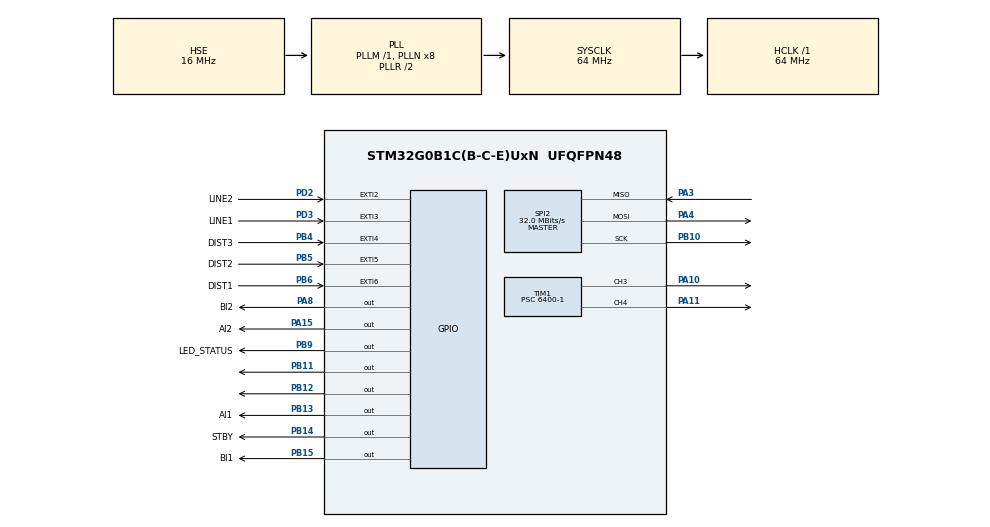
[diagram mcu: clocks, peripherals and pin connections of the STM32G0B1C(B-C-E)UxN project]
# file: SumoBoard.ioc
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Mcu.Family=STM32G0
Mcu.Name=STM32G0B1C(B-C-E)UxN
Mcu.Package=UFQFPN48
NVIC.EXTI2_3_IRQn=true\:1\:0\:true\:false\:true\:true\:true\:true
NVIC.EXTI4_15_IRQn=true\:1\:0\:true\:false\:true\:true\:true\:true
PA10.Signal=S_TIM1_CH3
PA11\ [PA9].Signal=S_TIM1_CH4
PA13.Mode=Serial_Wire
PA13.Signal=SYS_SWDIO
PA14-BOOT0.Mode=Serial_Wire
PA14-BOOT0.Signal=SYS_SWCLK
PA15.GPIO_Label=AI2
PA15.Signal=GPIO_Output
PA3.Mode=Full_Duplex_Master
PA3.Signal=SPI2_MISO
PA4.Mode=Full_Duplex_Master
PA4.Signal=SPI2_MOSI
PA8.GPIO_Label=BI2
PA8.Signal=GPIO_Output
PB10.Mode=Full_Duplex_Master
PB10.Signal=SPI2_SCK
PB11.Signal=GPIO_Output
PB12.Signal=GPIO_Output
PB13.GPIO_Label=AI1
PB13.Signal=GPIO_Output
PB14.GPIO_Label=STBY
PB14.Signal=GPIO_Output
PB15.GPIO_Label=BI1
PB15.Signal=GPIO_Output
PB4.GPIO_Label=DIST3
PB4.GPIO_ModeDefaultEXTI=GPIO_MODE_IT_RISING
PB4.Signal=GPXTI4
PB5.GPIO_Label=DIST2
PB5.GPIO_ModeDefaultEXTI=GPIO_MODE_IT_RISING
PB5.Signal=GPXTI5
PB6.GPIO_Label=DIST1
PB6.GPIO_ModeDefaultEXTI=GPIO_MODE_IT_RISING
PB6.Signal=GPXTI6
PB9.GPIO_Label=LED_STATUS
PB9.Signal=GPIO_Output
PD2.GPIO_Label=LINE2
PD2.GPIO_ModeDefaultEXTI=GPIO_MODE_IT_FALLING
PD2.Signal=GPXTI2
PD3.GPIO_Label=LINE1
PD3.GPIO_ModeDefaultEXTI=GPIO_MODE_IT_FALLING
PD3.Signal=GPXTI3
PF0-OSC_IN\ (PF0).Mode=HSE-External-Oscillator
PF0-OSC_IN\ (PF0).Signal=RCC_OSC_IN
PF1-OSC_OUT\ (PF1).Mode=HSE-External-Oscillator
PF1-OSC_OUT\ (PF1).Signal=RCC_OSC_OUT
ProjectManager.HeapSize=0x200
ProjectManager.StackSize=0x400
ProjectManager.TargetToolchain=STM32CubeIDE
RCC.ADCFreq_Value=64000000
RCC.AHBFreq_Value=64000000
RCC.CortexFreq_Value=64000000
RCC.EXTERNAL_CLOCK_VALUE=48000
RCC.HCLKFreq_Value=64000000
RCC.HSE_VALUE=16000000
RCC.HSI48_VALUE=48000000
RCC.HSI_VALUE=16000000
RCC.LSE_VALUE=32768
RCC.PLLSourceVirtual=RCC_PLLSOURCE_HSE
RCC.SYSCLKFreq_VALUE=64000000
RCC.SYSCLKSource=RCC_SYSCLKSOURCE_PLLCLK
RCC.USBFreq_Value=48000000
RCC.VCOOutputFreq_Value=128000000
SH.S_TIM1_CH3.0=TIM1_CH3,PWM Generation3 CH3
SH.S_TIM1_CH4.0=TIM1_CH4,PWM Generation4 CH4
SPI2.CalculateBaudRate=32.0 MBits/s
SPI2.Direction=SPI_DIRECTION_2LINES
SPI2.Mode=SPI_MODE_MASTER
SPI2.VirtualType=VM_MASTER
TIM1.Channel-PWM\ Generation3\ CH3=TIM_CHANNEL_3
TIM1.Channel-PWM\ Generation4\ CH4=TIM_CHANNEL_4
TIM1.Period=100-1
TIM1.Prescaler=6400-1
TIM2.Channel-Output\ Compare3\ CH3=TIM_CHANNEL_3
VP_SYS_VS_DBSignals.Mode=DisableDeadBatterySignals
VP_TIM2_VS_ClockSourceINT.Mode=Internal
board=custom

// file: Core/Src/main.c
/* USER CODE BEGIN Header */
/**
  ******************************************************************************
  * @file           : main.c
  * @brief          : Main program body
  ******************************************************************************
  * @attention
  *
  * Copyright (c) 2022 STMicroelectronics.
  * All rights reserved.
  *
  * This software is licensed under terms that can be found in the LICENSE file
  * in the root directory of this software component.
  * If no LICENSE file comes with this software, it is provided AS-IS.
  *
  ******************************************************************************
  */
/* USER CODE END Header */
#include "main.h"

/* USER CODE BEGIN Includes */
void bot_right(void);
void bot_straight(void);
void bot_left(void);
/* USER CODE END Includes */

 SPI_HandleTypeDef hspi2;

TIM_HandleTypeDef htim1;
TIM_HandleTypeDef htim2;

void SystemClock_Config(void);
static void MX_GPIO_Init(void);
static void MX_TIM2_Init(void);
static void MX_SPI2_Init(void);
static void MX_TIM1_Init(void);

int main(void)
{

  /* MCU Configuration--------------------------------------------------------*/

  /* Reset of all peripherals, Initializes the Flash interface and the Systick. */
  HAL_Init();

  /* Configure the system clock */
  SystemClock_Config();

  /* Initialize all configured peripherals */
  MX_GPIO_Init();
  MX_TIM2_Init();
  MX_SPI2_Init();
  MX_TIM1_Init();
  /* USER CODE BEGIN 2 */

  HAL_GPIO_WritePin(STBY_GPIO_Port, STBY_Pin, GPIO_PIN_SET);

  HAL_GPIO_WritePin(BI1_GPIO_Port, BI1_Pin, GPIO_PIN_RESET);
  HAL_GPIO_WritePin(BI2_GPIO_Port, BI2_Pin, GPIO_PIN_RESET);
  HAL_GPIO_WritePin(AI1_GPIO_Port, AI1_Pin, GPIO_PIN_RESET);
  HAL_GPIO_WritePin(AI2_GPIO_Port, AI2_Pin, GPIO_PIN_RESET);

  HAL_TIM_PWM_Start(&htim1, TIM_CHANNEL_3);
  HAL_TIM_PWM_Start(&htim1, TIM_CHANNEL_4);

  htim1.Instance->CCR3 = 30;
  htim1.Instance->CCR4 = 30;

  /* USER CODE END 2 */

  /* Infinite loop */
  /* USER CODE BEGIN WHILE */
  while (1)
  {
	//int val = 0;
    /* USER CODE END WHILE */

    /* USER CODE BEGIN 3 */
	//HAL_GPIO_TogglePin(LED_STATUS_GPIO_Port, LED_STATUS_Pin);
	//HAL_Delay(500);

	//val = HAL_GPIO_ReadPin(DIST1_GPIO_Port, DIST1_Pin);
	//if(val == 1){
	//	HAL_GPIO_TogglePin(LED_STATUS_GPIO_Port, LED_STATUS_Pin);
	//}

  }
  /* USER CODE END 3 */
}

void SystemClock_Config(void)
{
  RCC_OscInitTypeDef RCC_OscInitStruct = {0};
  RCC_ClkInitTypeDef RCC_ClkInitStruct = {0};

  /** Configure the main internal regulator output voltage
  */
  HAL_PWREx_ControlVoltageScaling(PWR_REGULATOR_VOLTAGE_SCALE1);

  /** Initializes the RCC Oscillators according to the specified parameters
  * in the RCC_OscInitTypeDef structure.
  */
  RCC_OscInitStruct.OscillatorType = RCC_OSCILLATORTYPE_HSE;
  RCC_OscInitStruct.HSEState = RCC_HSE_ON;
  RCC_OscInitStruct.PLL.PLLState = RCC_PLL_ON;
  RCC_OscInitStruct.PLL.PLLSource = RCC_PLLSOURCE_HSE;
  RCC_OscInitStruct.PLL.PLLM = RCC_PLLM_DIV1;
  RCC_OscInitStruct.PLL.PLLN = 8;
  RCC_OscInitStruct.PLL.PLLP = RCC_PLLP_DIV2;
  RCC_OscInitStruct.PLL.PLLQ = RCC_PLLQ_DIV2;
  RCC_OscInitStruct.PLL.PLLR = RCC_PLLR_DIV2;
  if (HAL_RCC_OscConfig(&RCC_OscInitStruct) != HAL_OK)
  {
    Error_Handler();
  }

  /** Initializes the CPU, AHB and APB buses clocks
  */
  RCC_ClkInitStruct.ClockType = RCC_CLOCKTYPE_HCLK|RCC_CLOCKTYPE_SYSCLK
                              |RCC_CLOCKTYPE_PCLK1;
  RCC_ClkInitStruct.SYSCLKSource = RCC_SYSCLKSOURCE_PLLCLK;
  RCC_ClkInitStruct.AHBCLKDivider = RCC_SYSCLK_DIV1;
  RCC_ClkInitStruct.APB1CLKDivider = RCC_HCLK_DIV1;

  if (HAL_RCC_ClockConfig(&RCC_ClkInitStruct, FLASH_LATENCY_2) != HAL_OK)
  {
    Error_Handler();
  }
}

static void MX_SPI2_Init(void)
{

  /* SPI2 parameter configuration*/
  hspi2.Instance = SPI2;
  hspi2.Init.Mode = SPI_MODE_MASTER;
  hspi2.Init.Direction = SPI_DIRECTION_2LINES;
  hspi2.Init.DataSize = SPI_DATASIZE_8BIT;
  hspi2.Init.CLKPolarity = SPI_POLARITY_LOW;
  hspi2.Init.CLKPhase = SPI_PHASE_1EDGE;
  hspi2.Init.NSS = SPI_NSS_SOFT;
  hspi2.Init.BaudRatePrescaler = SPI_BAUDRATEPRESCALER_2;
  hspi2.Init.FirstBit = SPI_FIRSTBIT_MSB;
  hspi2.Init.TIMode = SPI_TIMODE_DISABLE;
  hspi2.Init.CRCCalculation = SPI_CRCCALCULATION_DISABLE;
  hspi2.Init.CRCPolynomial = 7;
  hspi2.Init.CRCLength = SPI_CRC_LENGTH_DATASIZE;
  hspi2.Init.NSSPMode = SPI_NSS_PULSE_ENABLE;
  if (HAL_SPI_Init(&hspi2) != HAL_OK)
  {
    Error_Handler();
  }

}

static void MX_TIM1_Init(void)
{

  TIM_MasterConfigTypeDef sMasterConfig = {0};
  TIM_OC_InitTypeDef sConfigOC = {0};
  TIM_BreakDeadTimeConfigTypeDef sBreakDeadTimeConfig = {0};

  htim1.Instance = TIM1;
  htim1.Init.Prescaler = 6400-1;
  htim1.Init.CounterMode = TIM_COUNTERMODE_UP;
  htim1.Init.Period = 100-1;
  htim1.Init.ClockDivision = TIM_CLOCKDIVISION_DIV1;
  htim1.Init.RepetitionCounter = 0;
  htim1.Init.AutoReloadPreload = TIM_AUTORELOAD_PRELOAD_DISABLE;
  if (HAL_TIM_PWM_Init(&htim1) != HAL_OK)
  {
    Error_Handler();
  }
  sMasterConfig.MasterOutputTrigger = TIM_TRGO_RESET;
  sMasterConfig.MasterOutputTrigger2 = TIM_TRGO2_RESET;
  sMasterConfig.MasterSlaveMode = TIM_MASTERSLAVEMODE_DISABLE;
  if (HAL_TIMEx_MasterConfigSynchronization(&htim1, &sMasterConfig) != HAL_OK)
  {
    Error_Handler();
  }
  sConfigOC.OCMode = TIM_OCMODE_PWM1;
  sConfigOC.Pulse = 0;
  sConfigOC.OCPolarity = TIM_OCPOLARITY_HIGH;
  sConfigOC.OCNPolarity = TIM_OCNPOLARITY_HIGH;
  sConfigOC.OCFastMode = TIM_OCFAST_DISABLE;
  sConfigOC.OCIdleState = TIM_OCIDLESTATE_RESET;
  sConfigOC.OCNIdleState = TIM_OCNIDLESTATE_RESET;
  if (HAL_TIM_PWM_ConfigChannel(&htim1, &sConfigOC, TIM_CHANNEL_3) != HAL_OK)
  {
    Error_Handler();
  }
  if (HAL_TIM_PWM_ConfigChannel(&htim1, &sConfigOC, TIM_CHANNEL_4) != HAL_OK)
  {
    Error_Handler();
  }
  sBreakDeadTimeConfig.OffStateRunMode = TIM_OSSR_DISABLE;
  sBreakDeadTimeConfig.OffStateIDLEMode = TIM_OSSI_DISABLE;
  sBreakDeadTimeConfig.LockLevel = TIM_LOCKLEVEL_OFF;
  sBreakDeadTimeConfig.DeadTime = 0;
  sBreakDeadTimeConfig.BreakState = TIM_BREAK_DISABLE;
  sBreakDeadTimeConfig.BreakPolarity = TIM_BREAKPOLARITY_HIGH;
  sBreakDeadTimeConfig.BreakFilter = 0;
  sBreakDeadTimeConfig.BreakAFMode = TIM_BREAK_AFMODE_INPUT;
  sBreakDeadTimeConfig.Break2State = TIM_BREAK2_DISABLE;
  sBreakDeadTimeConfig.Break2Polarity = TIM_BREAK2POLARITY_HIGH;
  sBreakDeadTimeConfig.Break2Filter = 0;
  sBreakDeadTimeConfig.Break2AFMode = TIM_BREAK_AFMODE_INPUT;
  sBreakDeadTimeConfig.AutomaticOutput = TIM_AUTOMATICOUTPUT_DISABLE;
  if (HAL_TIMEx_ConfigBreakDeadTime(&htim1, &sBreakDeadTimeConfig) != HAL_OK)
  {
    Error_Handler();
  }
  HAL_TIM_MspPostInit(&htim1);

}

static void MX_TIM2_Init(void)
{

  TIM_ClockConfigTypeDef sClockSourceConfig = {0};
  TIM_MasterConfigTypeDef sMasterConfig = {0};

  htim2.Instance = TIM2;
  htim2.Init.Prescaler = 0;
  htim2.Init.CounterMode = TIM_COUNTERMODE_UP;
  htim2.Init.Period = 4294967295;
  htim2.Init.ClockDivision = TIM_CLOCKDIVISION_DIV1;
  htim2.Init.AutoReloadPreload = TIM_AUTORELOAD_PRELOAD_DISABLE;
  if (HAL_TIM_Base_Init(&htim2) != HAL_OK)
  {
    Error_Handler();
  }
  sClockSourceConfig.ClockSource = TIM_CLOCKSOURCE_INTERNAL;
  if (HAL_TIM_ConfigClockSource(&htim2, &sClockSourceConfig) != HAL_OK)
  {
    Error_Handler();
  }
  sMasterConfig.MasterOutputTrigger = TIM_TRGO_RESET;
  sMasterConfig.MasterSlaveMode = TIM_MASTERSLAVEMODE_DISABLE;
  if (HAL_TIMEx_MasterConfigSynchronization(&htim2, &sMasterConfig) != HAL_OK)
  {
    Error_Handler();
  }

}

static void MX_GPIO_Init(void)
{
  GPIO_InitTypeDef GPIO_InitStruct = {0};

  /* GPIO Ports Clock Enable */
  __HAL_RCC_GPIOF_CLK_ENABLE();
  __HAL_RCC_GPIOA_CLK_ENABLE();
  __HAL_RCC_GPIOB_CLK_ENABLE();
  __HAL_RCC_GPIOD_CLK_ENABLE();

  /*Configure GPIO pin Output Level */
  HAL_GPIO_WritePin(GPIOB, GPIO_PIN_11|GPIO_PIN_12|AI1_Pin|STBY_Pin
                          |BI1_Pin|LED_STATUS_Pin, GPIO_PIN_RESET);

  /*Configure GPIO pin Output Level */
  HAL_GPIO_WritePin(GPIOA, BI2_Pin|AI2_Pin, GPIO_PIN_RESET);

  /*Configure GPIO pins : PB11 PB12 AI1_Pin STBY_Pin
                           BI1_Pin LED_STATUS_Pin */
  GPIO_InitStruct.Pin = GPIO_PIN_11|GPIO_PIN_12|AI1_Pin|STBY_Pin
                          |BI1_Pin|LED_STATUS_Pin;
  GPIO_InitStruct.Mode = GPIO_MODE_OUTPUT_PP;
  GPIO_InitStruct.Pull = GPIO_NOPULL;
  GPIO_InitStruct.Speed = GPIO_SPEED_FREQ_LOW;
  HAL_GPIO_Init(GPIOB, &GPIO_InitStruct);

  /*Configure GPIO pins : BI2_Pin AI2_Pin */
  GPIO_InitStruct.Pin = BI2_Pin|AI2_Pin;
  GPIO_InitStruct.Mode = GPIO_MODE_OUTPUT_PP;
  GPIO_InitStruct.Pull = GPIO_NOPULL;
  GPIO_InitStruct.Speed = GPIO_SPEED_FREQ_LOW;
  HAL_GPIO_Init(GPIOA, &GPIO_InitStruct);

  /*Configure GPIO pins : LINE2_Pin LINE1_Pin */
  GPIO_InitStruct.Pin = LINE2_Pin|LINE1_Pin;
  GPIO_InitStruct.Mode = GPIO_MODE_IT_FALLING;
  GPIO_InitStruct.Pull = GPIO_NOPULL;
  HAL_GPIO_Init(GPIOD, &GPIO_InitStruct);

  /*Configure GPIO pins : DIST3_Pin DIST2_Pin DIST1_Pin */
  GPIO_InitStruct.Pin = DIST3_Pin|DIST2_Pin|DIST1_Pin;
  GPIO_InitStruct.Mode = GPIO_MODE_IT_RISING;
  GPIO_InitStruct.Pull = GPIO_NOPULL;
  HAL_GPIO_Init(GPIOB, &GPIO_InitStruct);

  /* EXTI interrupt init*/
  HAL_NVIC_SetPriority(EXTI2_3_IRQn, 1, 0);
  HAL_NVIC_EnableIRQ(EXTI2_3_IRQn);

  HAL_NVIC_SetPriority(EXTI4_15_IRQn, 1, 0);
  HAL_NVIC_EnableIRQ(EXTI4_15_IRQn);

}

/* USER CODE BEGIN 4 */
void bot_straight(void) {
	HAL_GPIO_WritePin(BI1_GPIO_Port, BI1_Pin, GPIO_PIN_RESET);
	HAL_GPIO_WritePin(BI2_GPIO_Port, BI2_Pin, GPIO_PIN_SET);
	HAL_GPIO_WritePin(AI1_GPIO_Port, AI1_Pin, GPIO_PIN_SET);
	HAL_GPIO_WritePin(AI2_GPIO_Port, AI2_Pin, GPIO_PIN_RESET);
}

void bot_right(void) {
	HAL_GPIO_WritePin(BI1_GPIO_Port, BI1_Pin, GPIO_PIN_RESET);
	HAL_GPIO_WritePin(BI2_GPIO_Port, BI2_Pin, GPIO_PIN_SET);
	HAL_GPIO_WritePin(AI1_GPIO_Port, AI1_Pin, GPIO_PIN_RESET);
	HAL_GPIO_WritePin(AI2_GPIO_Port, AI2_Pin, GPIO_PIN_SET);
}

void bot_left(void) {
	HAL_GPIO_WritePin(BI1_GPIO_Port, BI1_Pin, GPIO_PIN_SET);
	HAL_GPIO_WritePin(BI2_GPIO_Port, BI2_Pin, GPIO_PIN_RESET);
	HAL_GPIO_WritePin(AI1_GPIO_Port, AI1_Pin, GPIO_PIN_SET);
	HAL_GPIO_WritePin(AI2_GPIO_Port, AI2_Pin, GPIO_PIN_RESET);
}

void HAL_GPIO_EXTI_Rising_Callback(uint16_t GPIO_Pin) {
	int counter = 0;
	if(GPIO_Pin == DIST1_Pin) {
		HAL_GPIO_TogglePin(LED_STATUS_GPIO_Port, LED_STATUS_Pin);
		if(HAL_GPIO_ReadPin(DIST2_GPIO_Port, DIST2_Pin)) {
			bot_straight();
		} else {
			while(!HAL_GPIO_ReadPin(DIST2_GPIO_Port, DIST2_Pin)) {
				counter++;
				if(counter > 100000) {
					bot_straight();
					break;
				}
				bot_right();
			}
		}
	}

	else if(GPIO_Pin == DIST2_Pin) {
		HAL_GPIO_TogglePin(LED_STATUS_GPIO_Port, LED_STATUS_Pin);
		bot_straight();
	}

	else if(GPIO_Pin == DIST3_Pin) {
		HAL_GPIO_TogglePin(LED_STATUS_GPIO_Port, LED_STATUS_Pin);
		if(HAL_GPIO_ReadPin(DIST2_GPIO_Port, DIST2_Pin)) {
			bot_straight();
		} else {
			while(!HAL_GPIO_ReadPin(DIST2_GPIO_Port, DIST2_Pin)) {
				counter++;
				if(counter > 100000) {
					bot_straight();
					break;
				}
				bot_left();
			}
		}
	}
}

void HAL_GPIO_EXTI_Falling_Callback(uint16_t GPIO_Pin) {
	if(GPIO_Pin == LINE1_Pin) {
		bot_left();
		HAL_Delay(200);
		bot_straight();
	} else {
		bot_right();
		HAL_Delay(200);
		bot_straight();
	}
}

/* USER CODE END 4 */

void Error_Handler(void)
{
  __disable_irq();
  while (1)
  {
  }
}
